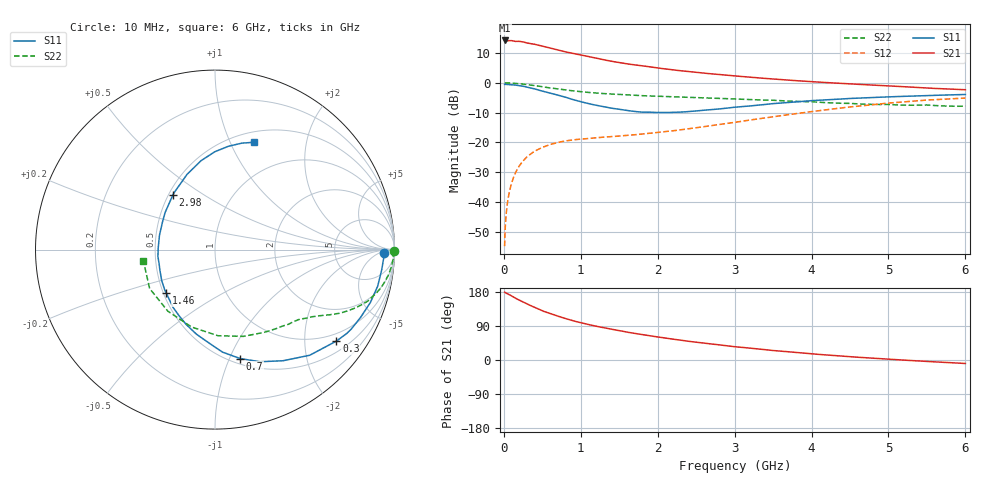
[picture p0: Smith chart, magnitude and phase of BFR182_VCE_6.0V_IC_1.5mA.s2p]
! Infineon Technologies  Discrete & RF Semiconductors
! BFR182
! VCE =  6.0 V,  IC =  1.5 mA
! Common Emitter S-Parameters:  Nov 2015
# GHz  S  MA  R  50
!  f  S11  S21  S12  S22
! GHz  MAG  ANG  MAG  ANG  MAG  ANG  MAG  ANG
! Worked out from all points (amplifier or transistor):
!   210 points, 10 MHz to 6 GHz, reference 50 ohm
!   highest |S21| = 14.2 dB at 10 MHz (marker M1)
!   |S21| within 3 dB of that: start of sweep to 672.6 MHz
!   unconditionally stable (mu >= 1): 1.622 GHz to 3.183 GHz
!   at 185 MHz: K = 0.15, MSG = 21.3 dB, |S12| = -28.6 dB
!   at 1.52 GHz: K = 0.96, MSG = 12.3 dB, |S12| = -17.8 dB
!   at 6 GHz: K = 0.91, MSG = 1.4 dB, |S12| = -5.1 dB
!   S11 on the Smith chart (normalised r, x): 10 MHz: 28, -10; 300 MHz: 0.78, -2.80; 700 MHz: 0.55, -1.10; 1.46 GHz: 0.52, -0.29; 2.98 GHz: 0.53, +0.38; 6 GHz: 0.61, +1.23
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0.01  0.9397 -1.3  5.139 179.0  0.0018 93.4  0.9976 -0.6
0.02  0.9417 -2.5  5.013 177.6  0.004 89.0  0.9915 -1.1
0.03  0.9397 -3.8  5.039 176.6  0.0061 87.2  0.9926 -1.6
0.05  0.937 -6.3  5.097 174.6  0.0103 85.8  0.9952 -2.7
0.08  0.9308 -10.1  5.104 171.4  0.0164 84.0  0.9906 -4.3
0.2  0.8949 -24.9  4.971 157.9  0.04 75.5  0.9652 -10.3
0.3  0.8469 -37.0  4.664 147.7  0.0568 69.1  0.9331 -14.8
0.4  0.7907 -48.1  4.437 138.9  0.071 63.1  0.8981 -18.7
0.5  0.7256 -58.6  4.133 129.7  0.082 58.2  0.8566 -21.9
0.7  0.6229 -77.0  3.57 115.8  0.0992 51.4  0.7883 -26.5
0.9  0.5216 -93.7  3.114 103.4  0.11 47.2  0.7316 -29.8
1.02  0.4745 -104.0  2.895 97.4  0.1138 46.0  0.7044 -31.4
1.2  0.4191 -118.6  2.592 89.0  0.1191 44.8  0.6721 -33.6
1.46  0.3645 -138.0  2.234 79.0  0.1263 45.0  0.6406 -36.4
1.7  0.3301 -157.9  2.005 70.2  0.1337 47.1  0.6152 -38.9
2.02  0.3166 178.6  1.76 60.2  0.1477 50.0  0.5929 -42.8
2.4  0.3283 154.2  1.545 49.4  0.1686 53.6  0.569 -48.4
2.98  0.3857 127.3  1.311 35.6  0.2144 56.1  0.537 -59.0
3.1  0.3975 122.9  1.272 33.3  0.2264 55.9  0.5286 -61.8
4.1  0.5088 97.1  1.025 14.7  0.3404 50.5  0.4703 -91.6
5.1  0.586 81.2  0.874 0.8  0.4664 37.7  0.4256 -131.6
6  0.636 70.1  0.764 -9.2  0.5541 22.7  0.4039 -170.8
